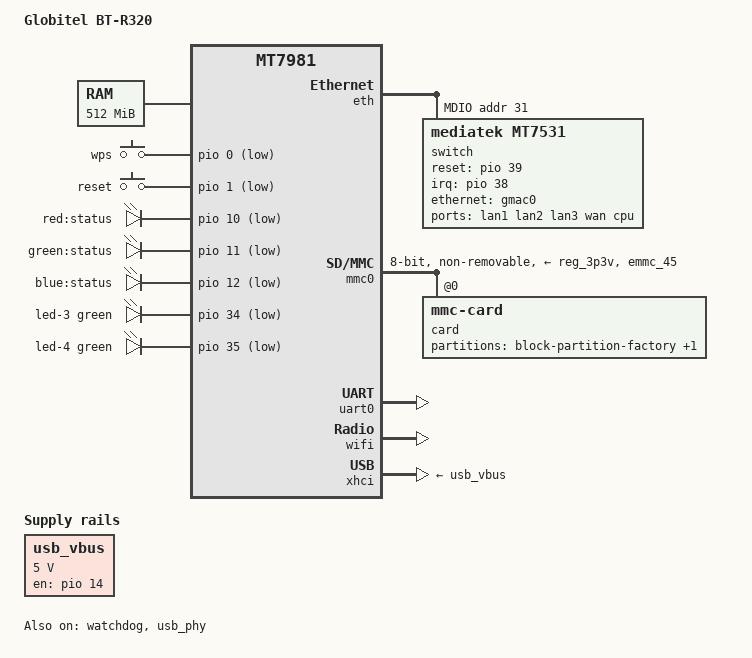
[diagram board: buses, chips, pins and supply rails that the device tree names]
// SPDX-License-Identifier: GPL-2.0-or-later OR MIT
/*
 * Globitel BT-R320 (MT7981B + MT7531AE + eMMC)
 *
 * 基线上游 openwrt-25.12 的 mt7981b-globitel-bt-r320.dts（内核 6.12，SoC dtsi 名为
 * mt7981b.dtsi，eMMC 分区用 gpt-partitions / partname 写法），只改三处：
 *   1) chosen：去掉上游的 bootargs-override="root=/dev/fit0" 与 rootdisk，
 *      改成 root=PARTLABEL=rootfs —— 原厂/老 U-Boot 不会把 root 指到 FIT，
 *      必须让内核自己按 eMMC 分区名找根分区（配合 sysupgrade-tar + emmc_do_upgrade）。
 *   2) memory：声明 512MB（参考可工作的 ImmortalWrt 6.6 移植版本，宁少认不多认）。
 *   3) 补 3 个状态灯（pio10/11/12）与 led-boot/running/failsafe/upgrade 别名。
 *
 * 其余（MDIO 上 mt7531 复位脚 pio39、lan1/2/3 + wan、factory 分区里的
 * eeprom@0 与 MAC 0x24/0x2a）沿用上游，不做改动。
 *
 * 注意：#include 必须写 mt7981b.dtsi —— 25.12 的内核 6.12 只有 mt7981b.dtsi，
 * 没有 mt7981.dtsi（lede 的 files-6.18 才有 mt7981.dtsi），写错会 dtb 编译直接失败。
 */


/dts-v1/;
#include <dt-bindings/gpio/gpio.h>
#include <dt-bindings/input/input.h>
#include <dt-bindings/leds/common.h>

#include "mt7981b.dtsi"

/ {
	model = "Globitel BT-R320";
	compatible = "globitel,bt-r320", "mediatek,mt7981";

	aliases {
		serial0 = &uart0;
		label-mac-device = &gmac0;
		led-boot = &led_status_red;
		led-failsafe = &led_status_red;
		led-running = &led_status_green;
		led-upgrade = &led_status_blue;
	};

	chosen {
		bootargs = "root=PARTLABEL=rootfs rootwait rootfstype=squashfs";
		stdout-path = "serial0:115200n8";
	};

	memory@40000000 {
		device_type = "memory";
		reg = <0 0x40000000 0 0x20000000>;
	};

	usb_vbus: regulator-usb-vbus {
		compatible = "regulator-fixed";
		regulator-name = "usb_vbus";
		regulator-min-microvolt = <5000000>;
		regulator-max-microvolt = <5000000>;
		gpios = <&pio 14 GPIO_ACTIVE_HIGH>;
		enable-active-high;
		regulator-boot-on;
	};

	gpio-keys {
		compatible = "gpio-keys";

		button-wps {
			label = "wps";
			linux,code = <KEY_WPS_BUTTON>;
			gpios = <&pio 0 GPIO_ACTIVE_LOW>;
		};

		button-reset {
			label = "reset";
			linux,code = <KEY_RESTART>;
			gpios = <&pio 1 GPIO_ACTIVE_LOW>;
		};
	};

	gpio-leds {
		compatible = "gpio-leds";

		led_status_red: led-0 {
			label = "red:status";
			gpios = <&pio 10 GPIO_ACTIVE_LOW>;
		};

		led_status_green: led-1 {
			label = "green:status";
			gpios = <&pio 11 GPIO_ACTIVE_LOW>;
		};

		led_status_blue: led-2 {
			label = "blue:status";
			gpios = <&pio 12 GPIO_ACTIVE_LOW>;
		};

		led-3 {
			function = LED_FUNCTION_WLAN_2GHZ;
			color = <LED_COLOR_ID_GREEN>;
			gpios = <&pio 34 GPIO_ACTIVE_LOW>;
			linux,default-trigger = "phy0tpt";
		};

		led-4 {
			function = LED_FUNCTION_WLAN_5GHZ;
			color = <LED_COLOR_ID_GREEN>;
			gpios = <&pio 35 GPIO_ACTIVE_LOW>;
			linux,default-trigger = "phy1tpt";
		};
	};
};

&eth {
	status = "okay";

	gmac0: mac@0 {
		compatible = "mediatek,eth-mac";
		reg = <0>;
		phy-mode = "2500base-x";
		nvmem-cells = <&macaddr_factory_2a 0>;
		nvmem-cell-names = "mac-address";
		fixed-link {
			speed = <2500>;
			full-duplex;
			pause;
		};
	};

	mdio: mdio-bus {
		#address-cells = <1>;
		#size-cells = <0>;

		switch@0 {
			compatible = "mediatek,mt7531";
			reg = <31>;
			reset-gpios = <&pio 39 GPIO_ACTIVE_HIGH>;
			interrupt-controller;
			#interrupt-cells = <1>;
			interrupt-parent = <&pio>;
			interrupts = <38 IRQ_TYPE_LEVEL_HIGH>;

			ports {
				#address-cells = <1>;
				#size-cells = <0>;

				port@1 {
					reg = <1>;
					label = "lan1";
				};

				port@2 {
					reg = <2>;
					label = "lan2";
				};

				port@3 {
					reg = <3>;
					label = "lan3";
				};

				port@4 {
					reg = <4>;
					label = "wan";
					nvmem-cells = <&macaddr_factory_24 0>;
					nvmem-cell-names = "mac-address";
				};

				port@6 {
					reg = <6>;
					label = "cpu";
					ethernet = <&gmac0>;
					phy-mode = "2500base-x";
					fixed-link {
						speed = <2500>;
						full-duplex;
						pause;
					};
				};
			};
		};
	};
};

&mmc0 {
	status = "okay";
	pinctrl-names = "default", "state_uhs";
	pinctrl-0 = <&mmc0_pins_default>;
	pinctrl-1 = <&mmc0_pins_uhs>;
	bus-width = <8>;
	max-frequency = <52000000>;
	vmmc-supply = <&reg_3p3v>;
	cap-mmc-highspeed;
	non-removable;
	no-sd;
	no-sdio;

	card@0 {
		compatible = "mmc-card";
		reg = <0>;

		partitions {
			compatible = "gpt-partitions";

			block-partition-factory {
				partname = "factory";

				nvmem-layout {
					compatible = "fixed-layout";
					#address-cells = <1>;
					#size-cells = <1>;

					eeprom_factory_0: eeprom@0 {
						reg = <0x0 0x1000>;
					};

					macaddr_factory_24: macaddr@24 {
						compatible = "mac-base";
						reg = <0x24 0x6>;
						#nvmem-cell-cells = <1>;
					};

					macaddr_factory_2a: macaddr@2a {
						compatible = "mac-base";
						reg = <0x2a 0x6>;
						#nvmem-cell-cells = <1>;
					};
				};
			};

			emmc_rootdisk: block-partition-production {
				partname = "production";
			};
		};
	};
};

&pio {
	mmc0_pins_default: mmc0-pins-default {
		mux {
			function = "flash";
			groups = "emmc_45";
		};
	};

	mmc0_pins_uhs: mmc0-pins-uhs {
		mux {
			function = "flash";
			groups = "emmc_45";
		};
	};
};

&uart0 {
	status = "okay";
};

&watchdog {
	status = "okay";
};

&wifi {
	nvmem-cells = <&eeprom_factory_0>;
	nvmem-cell-names = "eeprom";
	status = "okay";
};

&usb_phy {
	status = "okay";
};

&xhci {
	vbus-supply = <&usb_vbus>;
	status = "okay";
};
